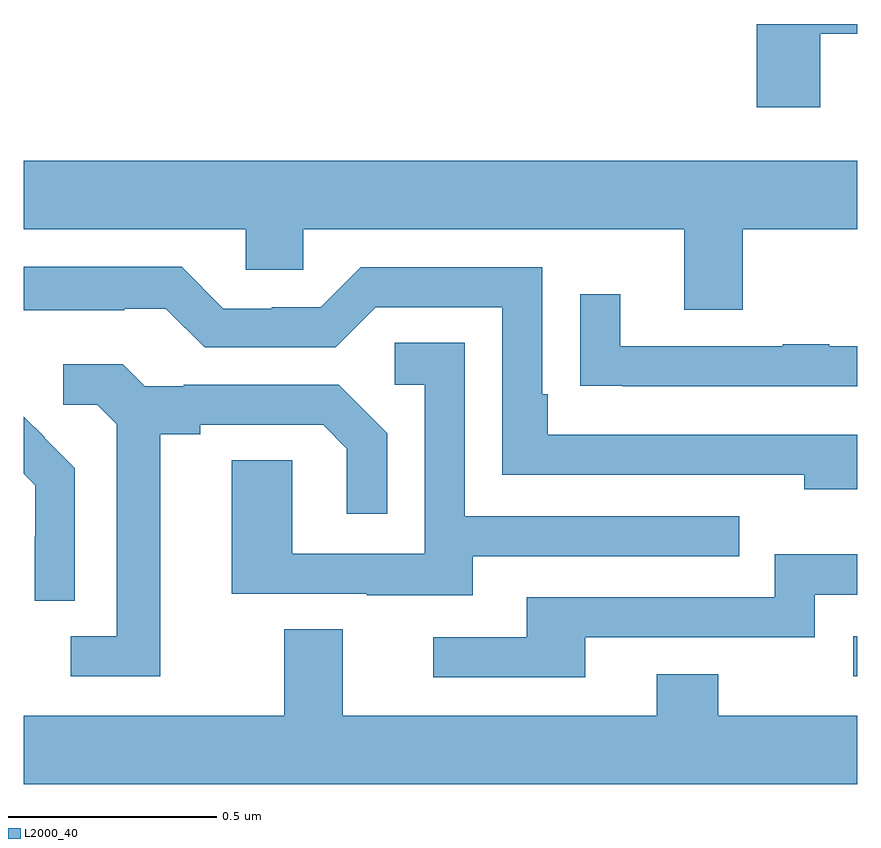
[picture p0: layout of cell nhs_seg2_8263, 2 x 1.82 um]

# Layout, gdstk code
import gdstk
lib = gdstk.Library(unit=1e-6, precision=1e-09)
def R(c, l, rs):  # rectangles x0, y0, x1, y1
    for r in rs: c.add(gdstk.rectangle(r[:2], r[2:], *l))
def P(c, l, *ps):  # polygons
    for p in ps: c.add(gdstk.Polygon(p, *l))
L2000_40 = (2000, 40)

nhs_seg2_8263 = lib.new_cell('nhs_seg2_8263')
R(nhs_seg2_8263, L2000_40, [(215.991,641.235,216,641.331)])
P(nhs_seg2_8263, L2000_40, [(215.911,642.777),(216,642.777),(216,642.8),(215.759,642.8),(215.759,642.6),(215.911,642.6)],
  [(215.725,642.308),(216,642.308),(216,642.472),(214,642.472),(214,642.308),(214.533,642.308),(214.533,642.21),(214.671,642.21),(214.671,642.308),(215.585,642.308),(215.585,642.114),(215.725,642.114)],
  [(216,641.814),(215.257,641.814),(215.257,641.911),(215.244,641.911),(215.244,642.216),(214.809,642.216),(214.713,642.12),(214.595,642.12),(214.595,642.117),(214.479,642.117),(214.379,642.217),(214,642.217),(214,642.113),(214.241,642.113),(214.241,642.117),(214.341,642.117),(214.434,642.024),(214.749,642.024),(214.845,642.12),(215.148,642.12),(215.148,641.718),(215.873,641.718),(215.873,641.684),(216,641.684)],
  [(216,642.027),(215.933,642.027),(215.933,642.032),(215.821,642.032),(215.821,642.027),(215.431,642.027),(215.431,642.151),(215.335,642.151),(215.335,641.932),(215.437,641.932),(215.437,641.931),(216,641.931)],
  [(215.077,641.523),(215.717,641.523),(215.717,641.619),(215.058,641.619),(215.058,642.035),(214.89,642.035),(214.89,641.934),(214.962,641.934),(214.962,641.529),(214.644,641.529),(214.644,641.753),(214.499,641.753),(214.499,641.433),(214.823,641.433),(214.823,641.429),(215.077,641.429)],
  [(214.327,641.816),(214.423,641.816),(214.423,641.838),(214.718,641.838),(214.775,641.781),(214.775,641.625),(214.872,641.625),(214.872,641.818),(214.756,641.934),(214.384,641.934),(214.384,641.931),(214.29,641.931),(214.238,641.983),(214.095,641.983),(214.095,641.886),(214.176,641.886),(214.223,641.839),(214.223,641.331),(214.113,641.331),(214.113,641.235),(214.327,641.235)],
  [(214.122,641.734),(214.049,641.807),(214.05,641.808),(214,641.858),(214,641.721),(214.028,641.693),(214.028,641.57),(214.026,641.57),(214.026,641.416),(214.122,641.416)],
  [(215.347,641.328),(215.898,641.328),(215.898,641.43),(216,641.43),(216,641.527),(215.802,641.527),(215.802,641.424),(215.207,641.424),(215.207,641.328),(214.983,641.328),(214.983,641.232),(215.347,641.232)],
  [(216,641.14),(215.667,641.14),(215.667,641.239),(215.519,641.239),(215.519,641.14),(214.765,641.14),(214.765,641.348),(214.625,641.348),(214.625,641.14),(214,641.14),(214,640.976),(216,640.976)])

lib.write_gds('nhs_seg2_8263.gds')
